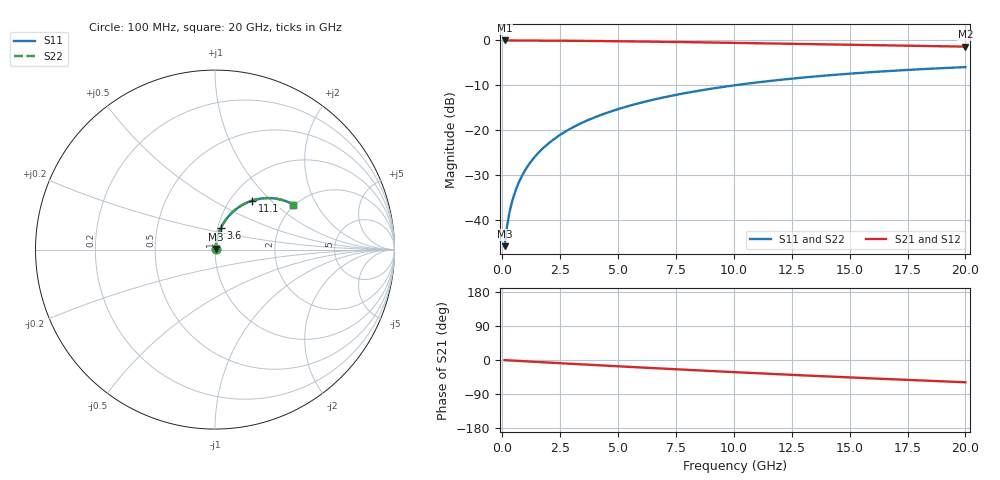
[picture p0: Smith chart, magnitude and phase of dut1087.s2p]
! Touchstone file exported from HFSS 2026.1.0
!  File:  C:/ffzhzh/LocalFiles/Ansys_Project_Files/temp_train_TMRDL_1087_1783161010_51560.aedt
!  Generated:  06:31:35 PM Jul  4, 2026
!  Design:  TMRDL
!  Project:  temp_train_TMRDL_1087_1783161010_51560
! Variables:
!  h_bsmrdl = 2um
!  h_ox = 20um
!  h_rdl = 5um
!  h_sub = 80um
!  h_tmrdl = 4.97um
!  h_tsv = 80um
!  h_via = 3um
!  l_bsmrdl = 300um
!  l_sub = 1314.53um
!  l_tmrdl = 914.53um
!  m_sub = 200um
!  pitch = 51.24um
!  r_tsv = 6um
!  s_tmrdl = 10um
!  w_bsmrdl = 18um
!  w_sub = 500um
!  w_tmrdl = 20.05um
!  x_tsv_center1 = 924.555um
!  x_tsv_center2 = 1242.555um
!  x_tsv_center3 = 2177.135um
!  x_tsv_center4 = 2495.135um
!  x_tsv_center5 = 3429.715um
!  x_tsv_center6 = 3747.715um
# GHz S MA R 50.000000
! Terminal data exported
! Port[1] = TM_RDL1_1_T1
! Port[2] = TM_RDL1_1_T2
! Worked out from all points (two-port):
!   200 points, 100 MHz to 20 GHz, reference 50 ohm
!   highest |S21| = -0.03 dB at 100 MHz (marker M1); lowest = -1.4 dB at 20 GHz (marker M2)
!   |S21| within 3 dB of the highest: start of sweep to end of sweep
!   lowest |S11| = -45.8 dB at 100 MHz (marker M3), VSWR 1.01, Z = 50.3 + j0.387 ohm
!   |S11| at or under -10 dB: start of sweep to 10.04 GHz
!   |S22| runs from -45.8 to -6.0 dB; largest |S21 - S12| = 5.3e-15
!   S11 on the Smith chart (normalised r, x): 100 MHz: 1.01, +0.01; 3.6 GHz: 1.04, +0.26; 11.1 GHz: 1.26, +0.78; 20 GHz: 1.96, +1.32
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0.1  0.00514 48.3  0.9966 -0.4  0.9966 -0.4  0.00514 48.3
! Gamma 0 0 0 0
! Port Impedance 50 0 50 0
0.2  0.008395 64.0  0.9964 -0.7  0.9964 -0.7  0.008395 64.0
0.3  0.01183 70.4  0.9962 -1.0  0.9962 -1.0  0.01183 70.4
0.4  0.01529 73.9  0.996 -1.4  0.996 -1.4  0.01529 73.9
0.5  0.01878 76.0  0.9958 -1.7  0.9958 -1.7  0.01878 76.0
0.7  0.0258 78.4  0.9955 -2.4  0.9955 -2.4  0.0258 78.4
1  0.03639 79.7  0.995 -3.4  0.995 -3.4  0.03639 79.7
1.4  0.05053 80.0  0.9941 -4.8  0.9941 -4.8  0.05053 80.0
1.7  0.0611 79.7  0.9933 -5.8  0.9933 -5.8  0.0611 79.7
2  0.07161 79.1  0.9923 -6.8  0.9923 -6.8  0.07161 79.1
2.7  0.09583 77.4  0.9896 -9.1  0.9896 -9.1  0.09583 77.4
3.5  0.1229 75.1  0.9857 -11.8  0.9857 -11.8  0.1229 75.1
3.6  0.1263 74.8  0.9852 -12.1  0.9852 -12.1  0.1263 74.8
4.3  0.1493 72.7  0.9812 -14.4  0.9812 -14.4  0.1493 72.7
5  0.1718 70.6  0.9769 -16.6  0.9769 -16.6  0.1718 70.6
6.8  0.227 65.2  0.9641 -22.3  0.9641 -22.3  0.227 65.2
8.3  0.27 60.8  0.9521 -26.9  0.9521 -26.9  0.27 60.8
10.1  0.3178 55.6  0.9366 -32.3  0.9366 -32.3  0.3178 55.7
11.1  0.3425 52.8  0.9276 -35.2  0.9276 -35.2  0.3425 52.9
13.4  0.3941 46.5  0.9066 -41.7  0.9066 -41.7  0.3941 46.6
16.7  0.4558 37.9  0.8772 -50.5  0.8772 -50.5  0.4558 38.0
20  0.5037 29.8  0.8509 -58.7  0.8509 -58.7  0.5037 29.9
